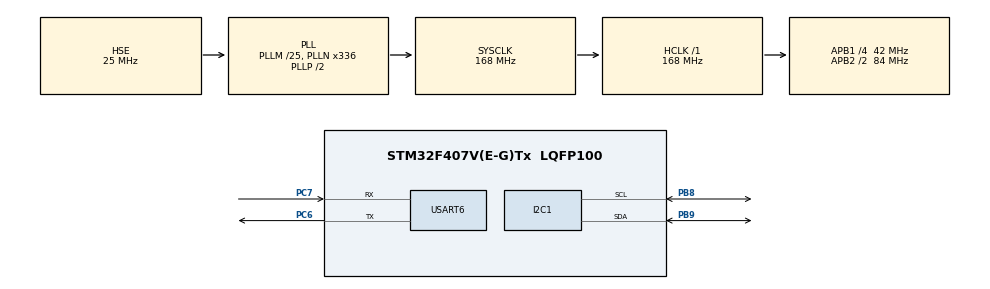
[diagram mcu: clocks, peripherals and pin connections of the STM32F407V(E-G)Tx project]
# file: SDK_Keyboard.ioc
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Mcu.Family=STM32F4
RCC.PLLSourceVirtual=RCC_PLLSOURCE_HSE
PH0-OSC_IN.Signal=RCC_OSC_IN
RCC.CortexFreq_Value=168000000
PC6.Signal=USART6_TX
RCC.APB1CLKDivider=RCC_HCLK_DIV4
RCC.SYSCLKSource=RCC_SYSCLKSOURCE_PLLCLK
ProjectManager.StackSize=0x400
PA13.Signal=SYS_JTMS-SWDIO
ProjectManager.TargetToolchain=STM32CubeIDE
PC6.Mode=Asynchronous
RCC.HCLKFreq_Value=168000000
PB9.Mode=I2C
RCC.APB2TimFreq_Value=168000000
PC7.Signal=USART6_RX
RCC.LSE_VALUE=32768
RCC.AHBFreq_Value=168000000
PH0-OSC_IN.Mode=HSE-External-Oscillator
RCC.HSE_VALUE=25000000
PB3.Mode=JTAG_5_pins
board=custom
RCC.VCOOutputFreq_Value=336000000
PA15.Mode=JTAG_5_pins
RCC.APB2Freq_Value=84000000
PB4.Mode=JTAG_5_pins
PA14.Mode=JTAG_5_pins
PH1-OSC_OUT.Signal=RCC_OSC_OUT
PA13.Mode=JTAG_5_pins
Mcu.Name=STM32F407V(E-G)Tx
PH1-OSC_OUT.Mode=HSE-External-Oscillator
RCC.48MHZClocksFreq_Value=84000000
PB3.Signal=SYS_JTDO-SWO
RCC.SYSCLKFreq_VALUE=168000000
Mcu.Package=LQFP100
PB9.Signal=I2C1_SDA
USART6.VirtualMode=VM_ASYNC
PA14.Signal=SYS_JTCK-SWCLK
PA15.Signal=SYS_JTDI
ProjectManager.HeapSize=0x200
RCC.HSI_VALUE=16000000
NVIC.PriorityGroup=NVIC_PRIORITYGROUP_4
RCC.APB2CLKDivider=RCC_HCLK_DIV2
RCC.PLLM=25
PB8.Mode=I2C
RCC.PLLN=336
RCC.APB1TimFreq_Value=84000000
PB8.Signal=I2C1_SCL
PC7.Mode=Asynchronous
RCC.APB1Freq_Value=42000000
PB4.Signal=SYS_JTRST

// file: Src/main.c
/* USER CODE BEGIN Header */
/**
 ******************************************************************************
 * @file           : main.c
 * @brief          : Main program body
 ******************************************************************************
 * @attention
 *
 * <h2><center>&copy; Copyright (c) 2019 STMicroelectronics.
 * All rights reserved.</center></h2>
 *
 * This software component is licensed by ST under BSD 3-Clause license,
 * the "License"; You may not use this file except in compliance with the
 * License. You may obtain a copy of the License at:
 *                        opensource.org/licenses/BSD-3-Clause
 *
 ******************************************************************************
 */
/* USER CODE END Header */

#include "main.h"
#include "i2c.h"
#include "usart.h"
#include "gpio.h"
#include "calculator.h"

/* USER CODE BEGIN Includes */
#include "kb.h"
#include "sdk_uart.h"
#include "pca9538.h"
#include "oled.h"
#include "fonts.h"

#include <stdlib.h>
/* USER CODE END Includes */

void SystemClock_Config(void);
/* USER CODE BEGIN PFP */
void KB_Test(void);
void OLED_KB(uint8_t OLED_Keys[]);
void oled_Reset(void);
/* USER CODE END PFP */

int main(void) {

	/* MCU Configuration--------------------------------------------------------*/

	/* Reset of all peripherals, Initializes the Flash interface and the Systick. */
	HAL_Init();

	/* Configure the system clock */
	SystemClock_Config();

	/* Initialize all configured peripherals */
	MX_GPIO_Init();
	MX_I2C1_Init();
	MX_USART6_UART_Init();
	/* USER CODE BEGIN 2 */
	oled_Init();

	oled_Reset();
	/* USER CODE END 2 */

	/* Infinite loop */
	while (1) {

		/* USER CODE BEGIN 3 */
		run();
//		oled_Reset();
//		oled_WriteString("Hi", Font_11x18, White);
//		oled_UpdateScreen();
//
//		int64_t a = 0, b = 0, lenA = 0, lenB = 0;
//		uint8_t Row[4] = { 0xF7, 0x7B, 0x3D, 0x1E }, Key, mode = 0, operation =
//				-1;
//		int8_t newNumber = -3;
//		char charsFromA[18];
//
//		while (1) {
//			for (int i = 0; i < 4; i++) {
//				Key = Check_Row(Row[i]);
//				switch (i) {
//				case 0:
//					switch (Key) {
//					case 0x01:
//						newNumber = -2;
//						break;
//
//					case 0x02:
//						newNumber = -1;
//						break;
//
//					case 0x04:
//						newNumber = 0;
//						break;
//					}
//					break;
//
//				case 1:
//					switch (Key) {
//					case 0x01:
//						newNumber = 3;
//						break;
//
//					case 0x02:
//						newNumber = 2;
//						break;
//
//					case 0x04:
//						newNumber = 1;
//						break;
//					}
//					break;
//
//				case 2:
//					switch (Key) {
//					case 0x01:
//						newNumber = 6;
//						break;
//
//					case 0x02:
//						newNumber = 5;
//						break;
//
//					case 0x04:
//						newNumber = 4;
//						break;
//					}
//					break;
//
//				case 3:
//					switch (Key) {
//					case 0x01:
//						newNumber = 9;
//						break;
//
//					case 0x02:
//						newNumber = 8;
//						break;
//
//					case 0x04:
//						newNumber = 7;
//						break;
//					}
//					break;
//
//				}
//
//				if (Key != 0x0) {
//					switch (mode) {
//					case 0: // режим первый - ввод числа
//						switch (newNumber) {
//						case -1:
//							if (lenA != 0) { // TODO должно быть поведение если длина нулевая
//								mode = 1;
//								oled_SetCursor(0, 10);
//							}
//							break;
//						case -2:
//							if (lenA != 0) { // унарный минус
//								oled_SetCursor(0, 0); // идем в начало числа
//								a *= -1;
//								if (a < 0) {
//									oled_WriteChar('-', Font_7x10, White);
//								} else if (a > 0) {
//									oled_WriteChar(' ', Font_7x10, White);
//								}
//								oled_SetCursor(7 * (lenA + 1), 0); // возвращаемся в конец числа
//							}
//							break;
//
//						default:
//							if (lenA == 0) {
//								oled_Reset();
//								oled_WriteChar(' ', Font_7x10, White);
//								oled_WriteChar(newNumber + '0', Font_7x10, // перевод числа в char
//										White);
//								a = newNumber;
//								lenA++;
//							} else if (a != 0 && lenA < 16) {
//								a *= 10;
//								a += newNumber;
//								oled_WriteChar(newNumber + '0', Font_7x10,
//										White);
//								lenA++;
//							} // TODO логика если ввели  а потом другую цифру + кога переполнилсоь
//							break;
//						}
//						break;
//
//					case 1: // режим второй - ввод операции
//						switch (newNumber) {
//						case 7: // TODO не делаем режими когда разные кнопки делают разное
//							operation = 0; // ENUM
//							oled_WriteChar('+', Font_7x10, White);
//							oled_SetCursor(0, 20);
//							mode = 2;
//							break;
//						case 8:
//							operation = 1;
//							oled_WriteChar('-', Font_7x10, White);
//							oled_SetCursor(0, 20);
//							mode = 2;
//							break;
//						case 9:
//							operation = 2;
//							oled_WriteChar('*', Font_7x10, White);
//							oled_SetCursor(0, 20);
//							mode = 2;
//							break;
//						}
//						break;
//
//					case 2: // третий режим - считываем второе число
//						switch (newNumber) {
//						case -1: // Здесь -1 это равно
//							if (lenB != 0) {
//								switch (operation) {
//								case 0:
//									a += b;
//									break;
//								case 1:
//									a -= b;
//									break;
//								case 2:
//									a *= b;
//									break;
//								}
//								b = 0;
//								lenB = 0;
//								oled_Reset();
//								itoa(a, charsFromA, 10);
//								if (a >= 0) oled_WriteChar(' ', Font_7x10, White);
//								oled_WriteString(charsFromA, Font_7x10, White);
//
//								mode = 1;
//								oled_SetCursor(0, 10); // вернулись в режим выбора операции и перешли на вторую строку
//							}
//							break;
//						case -2: // унарный минус для второго числа
//							if (lenB != 0) {
//								oled_SetCursor(0, 20);
//								b *= -1;
//								if (b < 0) {
//									oled_WriteChar('-', Font_7x10, White);
//								} else if (b > 0) {
//									oled_WriteChar(' ', Font_7x10, White);
//								}
//								oled_SetCursor(7 * (lenB + 1), 20);
//							}
//							break;
//						default:
//							if (lenB == 0) {
//								oled_WriteChar(' ', Font_7x10, White);
//								oled_WriteChar(newNumber + '0', Font_7x10,
//										White);
//								b = newNumber;
//								lenB++;
//							} else if (b != 0 && lenB < 16) {
//								b *= 10;
//								b += newNumber;
//								oled_WriteChar(newNumber + '0', Font_7x10,
//										White);
//								lenB++;
//							}
//							break;
//						}
//						break;
//					}
//					oled_UpdateScreen();
//				}
//			}
//			HAL_Delay(500); // защита от дребезга
//		}
	}
	/* USER CODE END 3 */
}

void SystemClock_Config(void) {
	RCC_OscInitTypeDef RCC_OscInitStruct = { 0 };
	RCC_ClkInitTypeDef RCC_ClkInitStruct = { 0 };

	/** Configure the main internal regulator output voltage
	 */
	__HAL_RCC_PWR_CLK_ENABLE();
	__HAL_PWR_VOLTAGESCALING_CONFIG(PWR_REGULATOR_VOLTAGE_SCALE1);
	/** Initializes the CPU, AHB and APB busses clocks
	 */
	RCC_OscInitStruct.OscillatorType = RCC_OSCILLATORTYPE_HSE;
	RCC_OscInitStruct.HSEState = RCC_HSE_ON;
	RCC_OscInitStruct.PLL.PLLState = RCC_PLL_ON;
	RCC_OscInitStruct.PLL.PLLSource = RCC_PLLSOURCE_HSE;
	RCC_OscInitStruct.PLL.PLLM = 25;
	RCC_OscInitStruct.PLL.PLLN = 336;
	RCC_OscInitStruct.PLL.PLLP = RCC_PLLP_DIV2;
	RCC_OscInitStruct.PLL.PLLQ = 4;
	if (HAL_RCC_OscConfig(&RCC_OscInitStruct) != HAL_OK) {
		Error_Handler();
	}
	/** Initializes the CPU, AHB and APB busses clocks
	 */
	RCC_ClkInitStruct.ClockType = RCC_CLOCKTYPE_HCLK | RCC_CLOCKTYPE_SYSCLK
			| RCC_CLOCKTYPE_PCLK1 | RCC_CLOCKTYPE_PCLK2;
	RCC_ClkInitStruct.SYSCLKSource = RCC_SYSCLKSOURCE_PLLCLK;
	RCC_ClkInitStruct.AHBCLKDivider = RCC_SYSCLK_DIV1;
	RCC_ClkInitStruct.APB1CLKDivider = RCC_HCLK_DIV4;
	RCC_ClkInitStruct.APB2CLKDivider = RCC_HCLK_DIV2;

	if (HAL_RCC_ClockConfig(&RCC_ClkInitStruct, FLASH_LATENCY_5) != HAL_OK) {
		Error_Handler();
	}
}

/* USER CODE BEGIN 4 */

void oled_Reset(void) {
	oled_Fill(Black);
	oled_SetCursor(0, 0);
	oled_UpdateScreen();
}

/* USER CODE END 4 */

void Error_Handler(void) {
}

/************************ (C) COPYRIGHT STMicroelectronics *****END OF FILE****/
